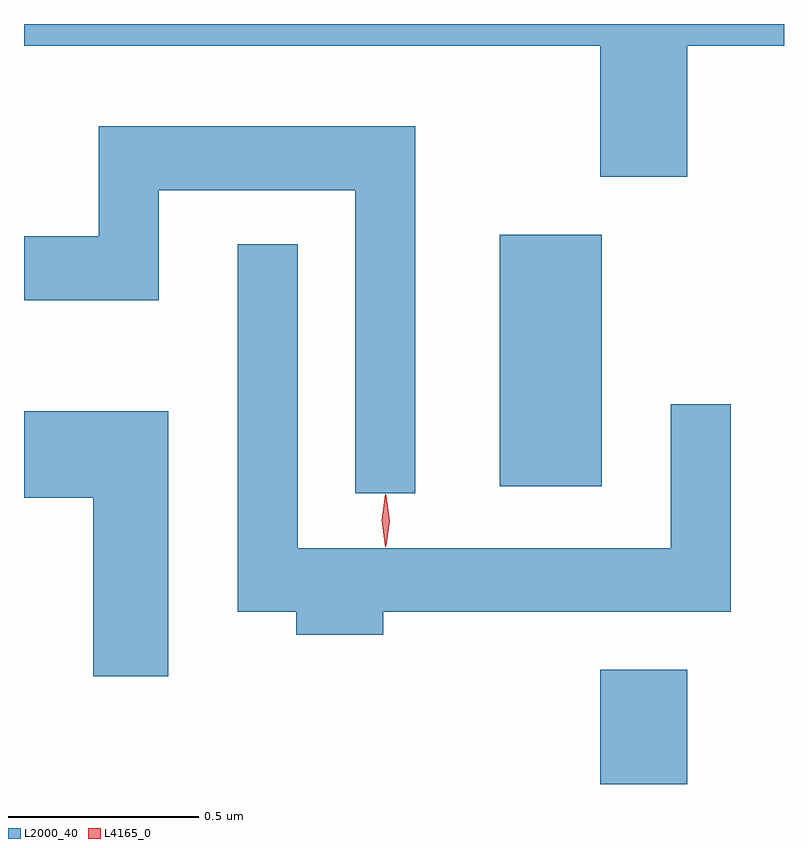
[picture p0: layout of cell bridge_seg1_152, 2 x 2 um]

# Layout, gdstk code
import gdstk
lib = gdstk.Library(unit=1e-6, precision=1e-09)
def R(c, l, rs):  # rectangles x0, y0, x1, y1
    for r in rs: c.add(gdstk.rectangle(r[:2], r[2:], *l))
def P(c, l, *ps):  # polygons
    for p in ps: c.add(gdstk.Polygon(p, *l))
L2000_40 = (2000, 40)
L4165_0 = (4165, 0)

bridge_seg1_152 = lib.new_cell('bridge_seg1_152')
R(bridge_seg1_152, L2000_40, [(901.501,962.013,901.729,962.314), (901.236,962.796,901.504,963.459)])
P(bridge_seg1_152, L2000_40, [(901.729,963.956),(901.984,963.956),(901.984,964.013),(899.984,964.013),(899.984,963.956),(901.501,963.956),(901.501,963.611),(901.729,963.611)],
  [(901.014,963.744),(900.181,963.744),(900.181,963.454),(899.984,963.454),(899.984,963.286),(900.339,963.286),(900.339,963.576),(900.856,963.576),(900.856,962.778),(901.014,962.778)],
  [(900.929,962.466),(901.844,962.466),(901.844,963.013),(901.686,963.013),(901.686,962.634),(900.704,962.634),(900.704,963.433),(900.546,963.433),(900.546,962.466),(900.701,962.466),(900.701,962.406),(900.929,962.406)],
  [(900.364,962.994),(899.984,962.994),(899.984,962.766),(900.166,962.766),(900.166,962.296),(900.364,962.296)])
P(bridge_seg1_152, L4165_0, [(900.935,962.637),(900.926,962.707),(900.935,962.776),(900.936,962.776),(900.936,962.776),(900.945,962.707),(900.936,962.637),(900.936,962.637)],
  [(900.937,962.639),(900.936,962.64),(900.927,962.706),(900.936,962.772),(900.937,962.773),(900.937,962.772),(900.947,962.706),(900.937,962.64)])

lib.write_gds('bridge_seg1_152.gds')
